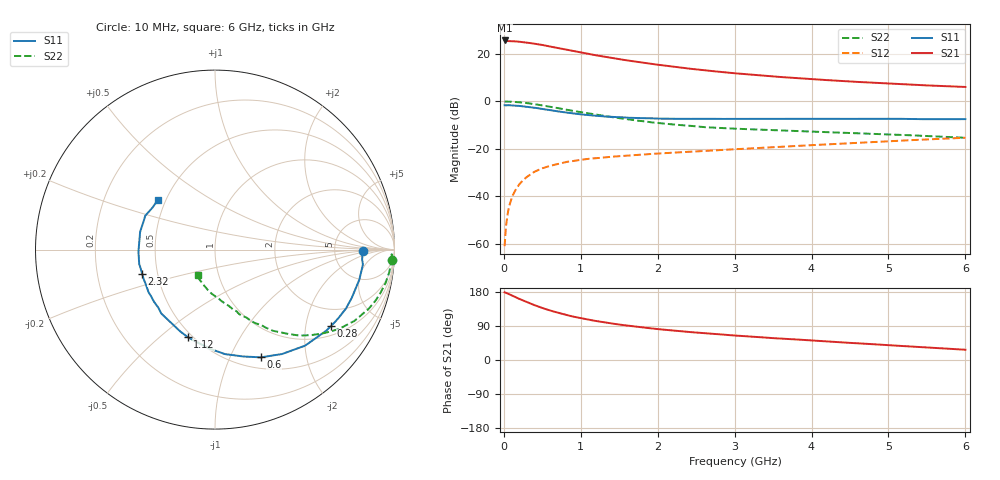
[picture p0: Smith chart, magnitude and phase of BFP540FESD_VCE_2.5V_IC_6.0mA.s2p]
! Infineon Technologies  Discrete & RF Semiconductors
! BFP540FESD
! VCE =  2.5 V,  IC =  6.0 mA
! Common Emitter S-Parameters:  Nov 2015
# GHz  S  MA  R  50
!  f  S11  S21  S12  S22
! GHz  MAG  ANG  MAG  ANG  MAG  ANG  MAG  ANG
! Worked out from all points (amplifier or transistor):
!   210 points, 10 MHz to 6 GHz, reference 50 ohm
!   highest |S21| = 25.6 dB at 10 MHz (marker M1)
!   |S21| within 3 dB of that: start of sweep to 673.1 MHz
!   unconditionally stable (mu >= 1): 2.586 GHz to end of sweep
!   at 185 MHz: K = 0.09, MSG = 30.3 dB, |S12| = -35.6 dB
!   at 1.52 GHz: K = 0.68, MSG = 20.3 dB, |S12| = -23.1 dB
!   at 6 GHz: K = 1.28, MAG = 7.5 dB, |S12| = -15.3 dB
!   S11 on the Smith chart (normalised r, x): 10 MHz: 10, -0; 280 MHz: 1.30, -2.77; 600 MHz: 0.63, -1.31; 1.12 GHz: 0.47, -0.62; 2.32 GHz: 0.41, -0.13; 6 GHz: 0.45, +0.30
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0.01  0.8247 -0.4  19 178.6  0.0009 86.8  0.988 -3.5
0.02  0.8213 -3.8  18.54 178.0  0.0016 84.1  0.9848 -1.5
0.09  0.822 -10.6  18.39 171.6  0.0082 84.7  0.9798 -6.6
0.15  0.8092 -18.9  18.26 166.2  0.0135 81.8  0.9691 -10.9
0.2  0.8001 -24.2  17.88 161.3  0.0179 78.7  0.9536 -14.5
0.28  0.7733 -33.5  17.3 154.5  0.0242 74.0  0.925 -19.8
0.4  0.7339 -46.8  16.24 144.6  0.0331 67.4  0.8718 -27.2
0.5  0.6914 -57.3  15.28 137.2  0.039 63.7  0.8194 -32.7
0.6  0.6526 -66.9  14.17 130.4  0.0439 59.5  0.7673 -37.3
0.8  0.5847 -84.6  12.3 119.3  0.0527 53.8  0.6715 -45.5
0.9  0.5559 -92.0  11.4 114.5  0.0555 51.3  0.6284 -48.6
1.02  0.5272 -100.4  10.49 109.6  0.0594 49.7  0.5838 -52.0
1.12  0.5095 -107.5  9.796 105.6  0.0623 48.5  0.5489 -54.9
1.3  0.4815 -118.0  8.686 99.7  0.0657 46.6  0.4927 -58.6
1.5  0.4652 -130.0  7.683 93.5  0.0699 44.8  0.442 -63.4
1.72  0.4457 -140.2  6.791 87.8  0.0743 43.6  0.395 -68.2
2.02  0.4322 -152.5  5.818 81.2  0.08 42.7  0.3473 -73.4
2.32  0.4272 -161.8  5.056 75.6  0.0852 42.0  0.3143 -77.9
3.1  0.4256 180.0  3.767 63.3  0.1001 41.0  0.2618 -89.2
4.1  0.4279 165.4  2.852 50.4  0.1218 39.5  0.2279 -100.2
5.1  0.4289 152.6  2.324 37.9  0.1472 35.4  0.1992 -111.1
6  0.4217 139.2  2 27.1  0.1711 30.6  0.1708 -124.5
